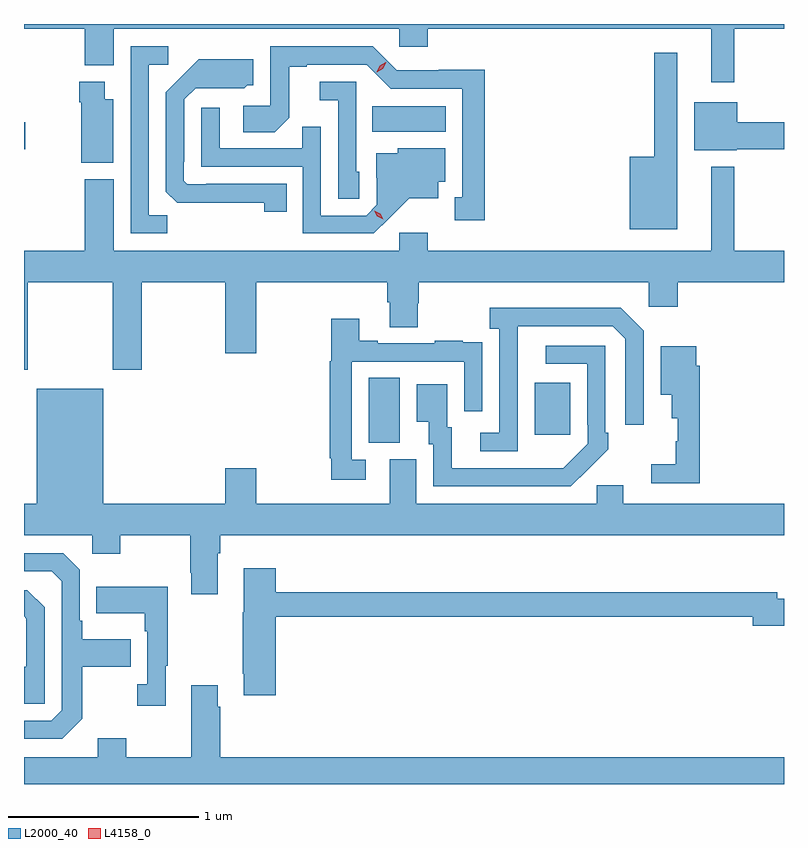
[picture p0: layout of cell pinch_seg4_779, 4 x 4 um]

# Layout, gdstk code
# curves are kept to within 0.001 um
import gdstk
lib = gdstk.Library(unit=1e-6, precision=1e-09)
def R(c, l, rs):  # rectangles x0, y0, x1, y1
    for r in rs: c.add(gdstk.rectangle(r[:2], r[2:], *l))
def P(c, l, *ps):  # polygons
    for p in ps: c.add(gdstk.Polygon(p, *l))
L2000_40 = (2000, 40)
L4158_0 = (4158, 0)

pinch_seg4_779 = lib.new_cell('pinch_seg4_779')
R(pinch_seg4_779, L2000_40, [(801.128,827.941,801.292,828.284), (802.001,827.985,802.189,828.259), (799.314,829.487,799.321,829.629), (801.148,829.58,801.535,829.714)])
P(pinch_seg4_779, L2000_40, [(803.053,830.12),(803.314,830.12),(803.314,830.146),(799.314,830.146),(799.314,830.12),(799.634,830.12),(799.634,829.928),(799.786,829.928),(799.786,830.12),(801.288,830.12),(801.288,830.027),(801.44,830.027),(801.44,830.12),(802.931,830.12),(802.931,829.839),(803.053,829.839)],
  [(801.739,829.904),(801.498,829.904),(801.498,829.902),(801.276,829.902),(801.15,830.028),(800.61,830.028),(800.61,829.716),(800.469,829.716),(800.469,829.576),(800.633,829.576),(800.709,829.652),(800.709,829.92),(800.803,829.92),(800.803,829.932),(801.117,829.932),(801.243,829.806),(801.62,829.806),(801.62,829.233),(801.581,829.233),(801.581,829.113),(801.739,829.113)],
  [(800.067,829.139),(799.971,829.139),(799.971,829.932),(800.074,829.932),(800.074,830.028),(799.875,830.028),(799.875,829.044),(800.067,829.044)],
  [(802.753,829.996),(802.632,829.996),(802.632,829.447),(802.502,829.447),(802.502,829.067),(802.753,829.067)],
  [(800.696,829.305),(800.272,829.305),(800.272,829.302),(800.172,829.302),(800.154,829.32),(800.154,829.42),(800.157,829.42),(800.157,829.749),(800.217,829.809),(800.474,829.808),(800.49,829.824),(800.521,829.824),(800.521,829.96),(800.233,829.96),(800.061,829.786),(800.061,829.264),(800.12,829.205),(800.578,829.204),(800.578,829.158),(800.696,829.158)],
  [(799.783,829.75),(799.738,829.75),(799.738,829.843),(799.604,829.843),(799.604,829.733),(799.616,829.733),(799.616,829.415),(799.783,829.415)],
  [(801.078,829.368),(801.063,829.368),(801.063,829.842),(800.871,829.842),(800.871,829.745),(800.967,829.745),(800.967,829.225),(801.078,829.225)],
  [(803.064,829.487),(803.314,829.487),(803.314,829.629),(803.068,829.629),(803.068,829.735),(802.841,829.735),(802.841,829.481),(803.064,829.481)],
  [(801.238,829.127),(801.341,829.229),(801.493,829.229),(801.493,829.316),(801.532,829.316),(801.532,829.492),(801.282,829.492),(801.282,829.465),(801.167,829.465),(801.167,829.336),(801.171,829.336),(801.171,829.194),(801.114,829.137),(800.877,829.137),(800.877,829.604),(800.779,829.604),(800.779,829.491),(800.343,829.491),(800.343,829.705),(800.247,829.705),(800.247,829.395),(800.781,829.395),(800.781,829.044),(801.154,829.044)],
  [(799.335,828.788),(799.78,828.788),(799.78,828.327),(799.935,828.327),(799.935,828.788),(800.372,828.788),(800.372,828.414),(800.536,828.414),(800.536,828.788),(801.227,828.788),(801.227,828.682),(801.239,828.682),(801.239,828.55),(801.387,828.55),(801.387,828.675),(801.392,828.675),(801.392,828.788),(802.602,828.788),(802.602,828.657),(802.754,828.657),(802.754,828.788),(803.314,828.788),(803.314,828.952),(803.053,828.952),(803.053,829.396),(802.931,829.396),(802.931,828.952),(801.44,828.952),(801.44,829.048),(801.288,829.048),(801.288,828.952),(799.786,828.952),(799.786,829.33),(799.634,829.33),(799.634,828.952),(799.314,828.952),(799.314,828.327),(799.335,828.327)],
  [(801.912,828.355),(801.913,828.555),(802.413,828.555),(802.479,828.489),(802.479,828.036),(802.575,828.036),(802.575,828.531),(802.454,828.652),(801.765,828.652),(801.765,828.542),(801.816,828.542),(801.816,827.994),(801.714,827.994),(801.714,827.898),(801.912,827.898)],
  [(801.112,827.853),(801.039,827.853),(801.039,828.369),(801.63,828.369),(801.63,828.108),(801.726,828.108),(801.726,828.362),(801.725,828.362),(801.725,828.471),(801.623,828.471),(801.623,828.478),(801.475,828.478),(801.475,828.465),(801.175,828.465),(801.175,828.478),(801.079,828.478),(801.079,828.595),(800.931,828.595),(800.931,828.372),(800.923,828.372),(800.923,827.86),(800.931,827.86),(800.931,827.748),(801.112,827.748)],
  [(802.283,827.803),(802.284,827.802),(802.389,827.907),(802.389,827.995),(802.374,827.995),(802.374,828.453),(802.059,828.453),(802.059,828.357),(802.278,828.357),(802.278,828.037),(802.281,828.037),(802.281,827.937),(802.153,827.809),(801.565,827.808),(801.565,828.024),(801.541,828.024),(801.541,828.25),(801.38,828.25),(801.38,828.053),(801.443,828.053),(801.443,827.934),(801.468,827.934),(801.468,827.712),(802.192,827.712)],
  [(802.871,828.347),(802.852,828.347),(802.852,828.451),(802.664,828.451),(802.664,828.194),(802.724,828.194),(802.724,828.071),(802.754,828.071),(802.754,827.949),(802.743,827.949),(802.743,827.829),(802.614,827.829),(802.614,827.73),(802.871,827.73)],
  [(800.335,827.36),(800.348,827.36),(800.348,827.456),(803.314,827.456),(803.314,827.62),(802.468,827.62),(802.468,827.718),(802.329,827.718),(802.329,827.62),(801.379,827.62),(801.379,827.856),(801.239,827.856),(801.239,827.62),(800.536,827.62),(800.536,827.809),(800.372,827.809),(800.372,827.62),(799.732,827.62),(799.732,828.226),(799.382,828.226),(799.382,827.62),(799.314,827.62),(799.314,827.456),(799.674,827.456),(799.674,827.357),(799.821,827.357),(799.821,827.456),(800.188,827.456),(800.188,827.257),(800.195,827.257),(800.195,827.145),(800.335,827.145)],
  [(799.621,826.489),(799.621,826.762),(799.877,826.762),(799.877,826.909),(799.621,826.909),(799.621,827.005),(799.608,827.005),(799.608,827.274),(799.521,827.361),(799.314,827.361),(799.314,827.265),(799.461,827.265),(799.512,827.214),(799.512,826.533),(799.458,826.479),(799.314,826.479),(799.314,826.383),(799.515,826.383)],
  [(800.639,827.026),(803.15,827.026),(803.15,826.979),(803.314,826.979),(803.314,827.121),(803.278,827.121),(803.278,827.155),(800.639,827.155),(800.639,827.281),(800.471,827.281),(800.471,827.049),(800.464,827.049),(800.464,826.726),(800.471,826.726),(800.471,826.614),(800.639,826.614)],
  [(800.059,826.769),(800.071,826.769),(800.071,827.185),(799.693,827.185),(799.693,827.045),(799.95,827.045),(799.95,826.949),(799.962,826.949),(799.962,826.67),(799.911,826.67),(799.911,826.557),(800.059,826.557)],
  [(799.422,827.076),(799.332,827.166),(799.314,827.166),(799.314,827.028),(799.326,827.016),(799.326,826.762),(799.314,826.762),(799.314,826.569),(799.422,826.569)],
  [(803.314,826.288),(800.348,826.288),(800.348,826.553),(800.335,826.553),(800.335,826.666),(800.195,826.666),(800.195,826.288),(799.851,826.288),(799.851,826.387),(799.703,826.387),(799.703,826.288),(799.314,826.288),(799.314,826.146),(803.314,826.146)])
P(pinch_seg4_779, L4158_0, [(801.205,829.119),(801.174,829.133),(801.157,829.163),(801.157,829.163),(801.157,829.163),(801.188,829.148),(801.205,829.119),(801.205,829.119)],
  [(801.17,829.892),(801.17,829.893),(801.187,829.925),(801.219,829.944),(801.22,829.944),(801.22,829.944),(801.202,829.911),(801.17,829.892)])

lib.write_gds('pinch_seg4_779.gds')
